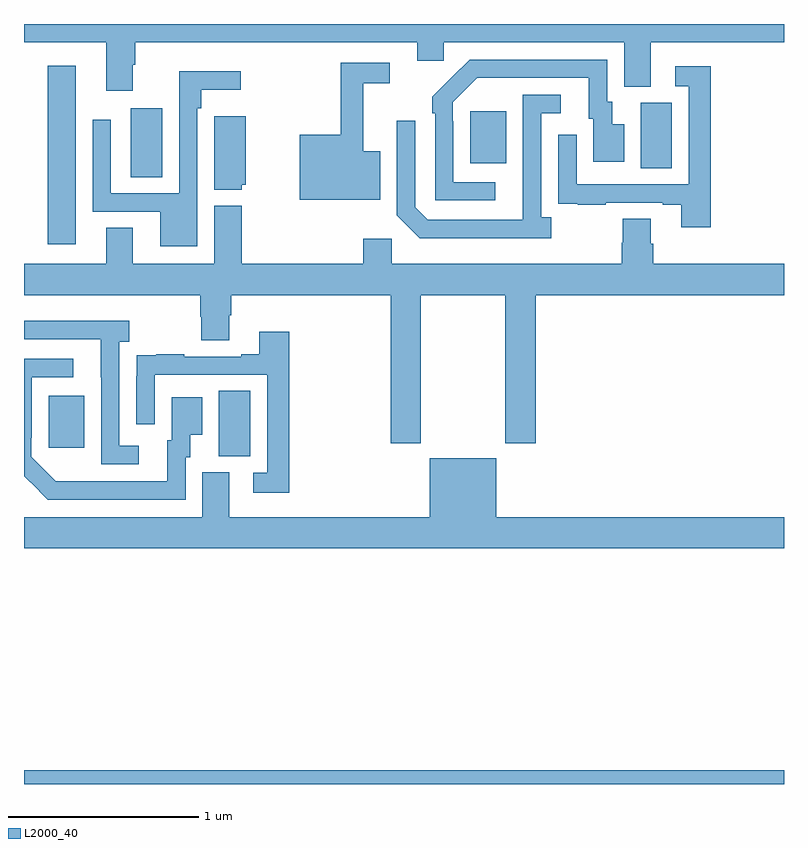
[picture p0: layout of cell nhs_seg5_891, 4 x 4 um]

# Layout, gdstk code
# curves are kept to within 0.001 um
import gdstk
lib = gdstk.Library(unit=1e-6, precision=1e-09)
def R(c, l, rs):  # rectangles x0, y0, x1, y1
    for r in rs: c.add(gdstk.rectangle(r[:2], r[2:], *l))
def P(c, l, *ps):  # polygons
    for p in ps: c.add(gdstk.Polygon(p, *l))
L2000_40 = (2000, 40)

nhs_seg5_891 = lib.new_cell('nhs_seg5_891')
R(nhs_seg5_891, L2000_40, [(167,908.799,171,908.872), (168.026,910.525,168.19,910.868), (167.129,910.569,167.317,910.843), (167.126,911.64,167.272,912.58), (167.561,911.992,167.728,912.355), (170.246,912.04,170.41,912.384), (169.349,912.065,169.537,912.34)])
P(nhs_seg5_891, L2000_40, [(167,912.704),(167.432,912.704),(167.432,912.447),(167.572,912.447),(167.572,912.584),(167.585,912.584),(167.585,912.704),(169.07,912.704),(169.07,912.606),(169.209,912.606),(169.209,912.704),(170.159,912.704),(170.159,912.469),(170.299,912.469),(170.299,912.704),(171,912.704),(171,912.799),(167,912.799)],
  [(169.48,911.967),(169.26,911.967),(169.26,912.287),(169.257,912.287),(169.257,912.387),(169.386,912.516),(169.973,912.516),(169.973,912.3),(169.997,912.3),(169.997,912.075),(170.158,912.075),(170.158,912.271),(170.095,912.271),(170.095,912.39),(170.07,912.39),(170.07,912.612),(169.346,912.612),(169.149,912.417),(169.149,912.329),(169.164,912.329),(169.164,911.871),(169.48,911.871)],
  [(168.874,912.13),(168.785,912.13),(168.785,912.486),(168.925,912.486),(168.925,912.594),(168.667,912.594),(168.667,912.217),(168.452,912.217),(168.452,911.873),(168.874,911.873)],
  [(170.615,912.577),(170.427,912.577),(170.427,912.471),(170.499,912.471),(170.499,911.955),(169.908,911.955),(169.908,912.217),(169.812,912.217),(169.812,911.962),(169.813,911.962),(169.813,911.853),(169.915,911.853),(169.915,911.847),(170.063,911.847),(170.063,911.859),(170.363,911.859),(170.363,911.847),(170.459,911.847),(170.459,911.73),(170.615,911.73)],
  [(167.913,912.356),(167.933,912.356),(167.933,912.452),(168.142,912.452),(168.142,912.55),(167.817,912.55),(167.817,911.907),(167.457,911.907),(167.457,912.295),(167.361,912.295),(167.361,911.811),(167.717,911.811),(167.717,911.63),(167.913,911.63)],
  [(169.774,911.782),(169.722,911.782),(169.722,912.33),(169.825,912.33),(169.825,912.426),(169.626,912.426),(169.625,911.769),(169.125,911.769),(169.059,911.835),(169.059,912.289),(168.963,912.289),(168.963,911.793),(169.084,911.672),(169.774,911.672)],
  [(168.147,911.952),(168.166,911.952),(168.166,912.313),(168.002,912.313),(168.002,911.927),(168.147,911.927)],
  [(168.936,911.668),(168.785,911.668),(168.785,911.536),(168.146,911.536),(168.146,911.842),(168.002,911.842),(168.002,911.536),(167.572,911.536),(167.572,911.726),(167.432,911.726),(167.432,911.536),(167,911.536),(167,911.372),(167.927,911.372),(167.927,911.259),(167.932,911.259),(167.932,911.134),(168.079,911.134),(168.079,911.266),(168.092,911.266),(168.092,911.372),(168.929,911.372),(168.929,910.593),(169.089,910.593),(169.089,911.372),(169.534,911.372),(169.534,910.593),(169.694,910.593),(169.694,911.372),(171,911.372),(171,911.536),(170.312,911.536),(170.312,911.642),(170.299,911.642),(170.299,911.774),(170.152,911.774),(170.152,911.649),(170.147,911.649),(170.147,911.536),(168.936,911.536)],
  [(167.605,910.578),(167.502,910.578),(167.502,911.126),(167.554,911.126),(167.554,911.236),(167,911.236),(167,911.139),(167.405,911.139),(167.405,910.939),(167.406,910.939),(167.406,910.482),(167.605,910.482)],
  [(168.395,911.179),(168.239,911.179),(168.239,911.062),(168.143,911.062),(168.143,911.049),(167.843,911.049),(167.843,911.062),(167.695,911.062),(167.695,911.055),(167.593,911.055),(167.593,910.946),(167.592,910.946),(167.592,910.692),(167.688,910.692),(167.688,910.953),(168.279,910.953),(168.279,910.437),(168.207,910.437),(168.207,910.332),(168.395,910.332)],
  [(167.85,910.518),(167.875,910.518),(167.875,910.637),(167.938,910.637),(167.938,910.834),(167.777,910.834),(167.777,910.608),(167.753,910.608),(167.753,910.392),(167.166,910.393),(167.037,910.521),(167.037,910.621),(167.04,910.621),(167.04,910.941),(167.26,910.941),(167.26,911.037),(167,911.037),(167,910.42),(167.034,910.386),(167.035,910.387),(167.126,910.296),(167.85,910.296)],
  [(171,910.204),(169.486,910.204),(169.486,910.513),(169.136,910.513),(169.136,910.204),(168.079,910.204),(168.079,910.44),(167.939,910.44),(167.939,910.204),(167,910.204),(167,910.04),(171,910.04)])

lib.write_gds('nhs_seg5_891.gds')
